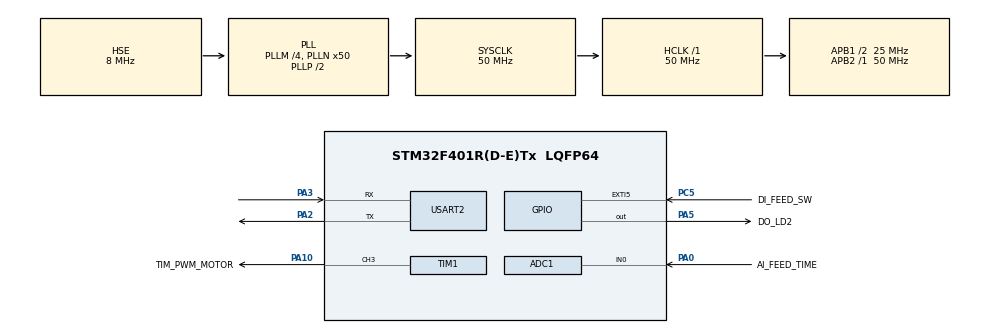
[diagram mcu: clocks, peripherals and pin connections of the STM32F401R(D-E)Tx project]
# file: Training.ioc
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ADC1.Channel-0\#ChannelRegularConversion=ADC_CHANNEL_0
ADC1.ContinuousConvMode=ENABLE
ADC1.NbrOfConversionFlag=1
ADC1.Rank-0\#ChannelRegularConversion=1
ADC1.SamplingTime-0\#ChannelRegularConversion=ADC_SAMPLETIME_480CYCLES
ADC1.master=1
Dma.ADC1.0.Direction=DMA_PERIPH_TO_MEMORY
Dma.ADC1.0.FIFOMode=DMA_FIFOMODE_DISABLE
Dma.ADC1.0.Instance=DMA2_Stream0
Dma.ADC1.0.MemDataAlignment=DMA_MDATAALIGN_HALFWORD
Dma.ADC1.0.MemInc=DMA_MINC_ENABLE
Dma.ADC1.0.Mode=DMA_CIRCULAR
Dma.ADC1.0.PeriphDataAlignment=DMA_PDATAALIGN_HALFWORD
Dma.ADC1.0.PeriphInc=DMA_PINC_DISABLE
Dma.ADC1.0.Priority=DMA_PRIORITY_LOW
Dma.Request0=ADC1
Mcu.Family=STM32F4
Mcu.Name=STM32F401R(D-E)Tx
Mcu.Package=LQFP64
NVIC.DMA2_Stream0_IRQn=true\:0\:0\:false\:false\:true\:false\:true\:true
NVIC.PriorityGroup=NVIC_PRIORITYGROUP_4
NVIC.USART2_IRQn=true\:0\:0\:false\:false\:true\:true\:true\:true
PA0-WKUP.GPIO_Label=AI_FEED_TIME
PA0-WKUP.Signal=ADCx_IN0
PA10.GPIO_Label=TIM_PWM_MOTOR
PA10.Signal=S_TIM1_CH3
PA2.Mode=Asynchronous
PA2.Signal=USART2_TX
PA3.Mode=Asynchronous
PA3.Signal=USART2_RX
PA5.GPIO_Label=DO_LD2
PA5.Signal=GPIO_Output
PC14-OSC32_IN.Mode=LSE-External-Oscillator
PC14-OSC32_IN.Signal=RCC_OSC32_IN
PC15-OSC32_OUT.Mode=LSE-External-Oscillator
PC15-OSC32_OUT.Signal=RCC_OSC32_OUT
PC5.GPIO_Label=DI_FEED_SW
PC5.Signal=GPXTI5
PH0\ -\ OSC_IN.Mode=HSE-External-Oscillator
PH0\ -\ OSC_IN.Signal=RCC_OSC_IN
PH1\ -\ OSC_OUT.Mode=HSE-External-Oscillator
PH1\ -\ OSC_OUT.Signal=RCC_OSC_OUT
ProjectManager.HeapSize=0x200
ProjectManager.StackSize=0x400
ProjectManager.TargetToolchain=STM32CubeIDE
RCC.48MHZClocksFreq_Value=25000000
RCC.AHBFreq_Value=50000000
RCC.APB1CLKDivider=RCC_HCLK_DIV2
RCC.APB1Freq_Value=25000000
RCC.APB1TimFreq_Value=50000000
RCC.APB2Freq_Value=50000000
RCC.APB2TimFreq_Value=50000000
RCC.CortexFreq_Value=50000000
RCC.HCLKFreq_Value=50000000
RCC.HSE_VALUE=8000000
RCC.HSI_VALUE=16000000
RCC.PLLM=4
RCC.PLLN=50
RCC.PLLSourceVirtual=RCC_PLLSOURCE_HSE
RCC.RCC_RTC_Clock_Source=RCC_RTCCLKSOURCE_LSE
RCC.RCC_RTC_Clock_SourceVirtual=RCC_RTCCLKSOURCE_LSE
RCC.SYSCLKFreq_VALUE=50000000
RCC.SYSCLKSource=RCC_SYSCLKSOURCE_PLLCLK
RCC.VCOOutputFreq_Value=100000000
SH.ADCx_IN0.0=ADC1_IN0,IN0
SH.S_TIM1_CH3.0=TIM1_CH3,PWM Generation3 CH3
TIM1.Channel-PWM\ Generation3\ CH3=TIM_CHANNEL_3
TIM1.Prescaler=7
USART2.VirtualMode=VM_ASYNC
VP_RTC_VS_RTC_Activate.Mode=RTC_Enabled
VP_RTC_VS_RTC_Calendar.Mode=RTC_Calendar
board=custom

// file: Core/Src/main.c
/* USER CODE BEGIN Header */
/**
  ******************************************************************************
  * @file           : main.c
  * @brief          : Main program body
  ******************************************************************************
  * @attention
  *
  * Copyright (c) 2026 STMicroelectronics.
  * All rights reserved.
  *
  * This software is licensed under terms that can be found in the LICENSE file
  * in the root directory of this software component.
  * If no LICENSE file comes with this software, it is provided AS-IS.
  *
  ******************************************************************************
  */
/* USER CODE END Header */
#include "main.h"

/* USER CODE BEGIN Includes */
#include "uart.h"
/* USER CODE END Includes */

ADC_HandleTypeDef hadc1;
DMA_HandleTypeDef hdma_adc1;

RTC_HandleTypeDef hrtc;

TIM_HandleTypeDef htim1;

UART_HandleTypeDef huart2;

void SystemClock_Config(void);
static void MX_GPIO_Init(void);
static void MX_DMA_Init(void);
static void MX_RTC_Init(void);
static void MX_USART2_UART_Init(void);
static void MX_ADC1_Init(void);
static void MX_TIM1_Init(void);

/* USER CODE BEGIN 0 */
#define MAX_TURN_ON_TIME 20000L
#define MIN_TURN_ON_TIME 1000L
#define MAX_ADC_VALUE 4095
#define MIN_ADC_VALUE 0

volatile uint8_t buttonInputFlag = 0;
volatile uint16_t adcValue = 0;

uint32_t Convert_Adc_To_Time(uint32_t adcValue)
{
	if(adcValue > MAX_ADC_VALUE)
		adcValue = MAX_ADC_VALUE;
	if(adcValue < MIN_ADC_VALUE)
		adcValue = MIN_ADC_VALUE;

	return adcValue * MAX_TURN_ON_TIME / MAX_ADC_VALUE;
}

void Set_PWM_Duty(TIM_HandleTypeDef *htim, uint32_t channel, float duty_percent)
{
    uint32_t arr = __HAL_TIM_GET_AUTORELOAD(htim);
    uint32_t ccr = (uint32_t)((arr + 1) * duty_percent / 100.0f);

    if (ccr > arr) ccr = arr;
    __HAL_TIM_SET_COMPARE(htim, channel, ccr);
}

void Start_Enter_Point()
{
	Set_PWM_Duty(&htim1, TIM_CHANNEL_3, 50);
}

void Stop_Enter_Point()
{
	Set_PWM_Duty(&htim1, TIM_CHANNEL_3, 0);
}

void Start_Feed(uint32_t period_ms)
{
	Start_Enter_Point();

	HAL_Delay(period_ms);

	Stop_Enter_Point();
}

void HAL_GPIO_EXTI_Callback(uint16_t GPIO_Pin)
{
    if (GPIO_Pin == DI_FEED_SW_Pin)
    {
    	buttonInputFlag = 1;
    }
}
/* USER CODE END 0 */

int main(void)
{

  /* MCU Configuration--------------------------------------------------------*/

  /* Reset of all peripherals, Initializes the Flash interface and the Systick. */
  HAL_Init();

  /* Configure the system clock */
  SystemClock_Config();

  /* Initialize all configured peripherals */
  MX_GPIO_Init();
  MX_DMA_Init();
  MX_RTC_Init();
  MX_USART2_UART_Init();
  MX_ADC1_Init();
  MX_TIM1_Init();
  /* USER CODE BEGIN 2 */
  RTC_TimeTypeDef sTime = {0};
  RTC_DateTypeDef sDate = {0};

  HAL_TIM_PWM_Start(&htim1, TIM_CHANNEL_3);

  HAL_ADC_Start_DMA(&hadc1, (uint32_t *)&adcValue, 1);

  /* USER CODE END 2 */

  /* Infinite loop */
  while (1)
  {

    /* USER CODE BEGIN 3 */
	  ReceiveUart();
	  HAL_RTC_GetTime(&hrtc, &sTime, RTC_FORMAT_BIN);
	  HAL_RTC_GetDate(&hrtc, &sDate, RTC_FORMAT_BIN);

	  HAL_GPIO_WritePin(DO_LD2_GPIO_Port, DO_LD2_Pin, GPIO_PIN_SET);
	  HAL_Delay(300);
	  HAL_GPIO_WritePin(DO_LD2_GPIO_Port, DO_LD2_Pin, GPIO_PIN_RESET);
	  HAL_Delay(300);

	  if((buttonInputFlag == 1)
			  || (sTime.Hours % 8 == 0
				  && sTime.Minutes == 0
				  && sTime.Seconds == 0))
	  {
		  buttonInputFlag = 0;

		  uint32_t time = Convert_Adc_To_Time(adcValue);
		  Start_Feed(time);
	  }

  }
  /* USER CODE END 3 */
}

void SystemClock_Config(void)
{
  RCC_OscInitTypeDef RCC_OscInitStruct = {0};
  RCC_ClkInitTypeDef RCC_ClkInitStruct = {0};

  /** Configure the main internal regulator output voltage
  */
  __HAL_RCC_PWR_CLK_ENABLE();
  __HAL_PWR_VOLTAGESCALING_CONFIG(PWR_REGULATOR_VOLTAGE_SCALE2);

  /** Initializes the RCC Oscillators according to the specified parameters
  * in the RCC_OscInitTypeDef structure.
  */
  RCC_OscInitStruct.OscillatorType = RCC_OSCILLATORTYPE_HSE|RCC_OSCILLATORTYPE_LSE;
  RCC_OscInitStruct.HSEState = RCC_HSE_ON;
  RCC_OscInitStruct.LSEState = RCC_LSE_ON;
  RCC_OscInitStruct.PLL.PLLState = RCC_PLL_ON;
  RCC_OscInitStruct.PLL.PLLSource = RCC_PLLSOURCE_HSE;
  RCC_OscInitStruct.PLL.PLLM = 4;
  RCC_OscInitStruct.PLL.PLLN = 50;
  RCC_OscInitStruct.PLL.PLLP = RCC_PLLP_DIV2;
  RCC_OscInitStruct.PLL.PLLQ = 4;
  if (HAL_RCC_OscConfig(&RCC_OscInitStruct) != HAL_OK)
  {
    Error_Handler();
  }

  /** Initializes the CPU, AHB and APB buses clocks
  */
  RCC_ClkInitStruct.ClockType = RCC_CLOCKTYPE_HCLK|RCC_CLOCKTYPE_SYSCLK
                              |RCC_CLOCKTYPE_PCLK1|RCC_CLOCKTYPE_PCLK2;
  RCC_ClkInitStruct.SYSCLKSource = RCC_SYSCLKSOURCE_PLLCLK;
  RCC_ClkInitStruct.AHBCLKDivider = RCC_SYSCLK_DIV1;
  RCC_ClkInitStruct.APB1CLKDivider = RCC_HCLK_DIV2;
  RCC_ClkInitStruct.APB2CLKDivider = RCC_HCLK_DIV1;

  if (HAL_RCC_ClockConfig(&RCC_ClkInitStruct, FLASH_LATENCY_1) != HAL_OK)
  {
    Error_Handler();
  }
}

static void MX_ADC1_Init(void)
{

  ADC_ChannelConfTypeDef sConfig = {0};

  /** Configure the global features of the ADC (Clock, Resolution, Data Alignment and number of conversion)
  */
  hadc1.Instance = ADC1;
  hadc1.Init.ClockPrescaler = ADC_CLOCK_SYNC_PCLK_DIV2;
  hadc1.Init.Resolution = ADC_RESOLUTION_12B;
  hadc1.Init.ScanConvMode = DISABLE;
  hadc1.Init.ContinuousConvMode = ENABLE;
  hadc1.Init.DiscontinuousConvMode = DISABLE;
  hadc1.Init.ExternalTrigConvEdge = ADC_EXTERNALTRIGCONVEDGE_NONE;
  hadc1.Init.ExternalTrigConv = ADC_SOFTWARE_START;
  hadc1.Init.DataAlign = ADC_DATAALIGN_RIGHT;
  hadc1.Init.NbrOfConversion = 1;
  hadc1.Init.DMAContinuousRequests = DISABLE;
  hadc1.Init.EOCSelection = ADC_EOC_SINGLE_CONV;
  if (HAL_ADC_Init(&hadc1) != HAL_OK)
  {
    Error_Handler();
  }

  /** Configure for the selected ADC regular channel its corresponding rank in the sequencer and its sample time.
  */
  sConfig.Channel = ADC_CHANNEL_0;
  sConfig.Rank = 1;
  sConfig.SamplingTime = ADC_SAMPLETIME_480CYCLES;
  if (HAL_ADC_ConfigChannel(&hadc1, &sConfig) != HAL_OK)
  {
    Error_Handler();
  }

}

static void MX_RTC_Init(void)
{

  RTC_TimeTypeDef sTime = {0};
  RTC_DateTypeDef sDate = {0};

  /** Initialize RTC Only
  */
  hrtc.Instance = RTC;
  hrtc.Init.HourFormat = RTC_HOURFORMAT_24;
  hrtc.Init.AsynchPrediv = 127;
  hrtc.Init.SynchPrediv = 255;
  hrtc.Init.OutPut = RTC_OUTPUT_DISABLE;
  hrtc.Init.OutPutPolarity = RTC_OUTPUT_POLARITY_HIGH;
  hrtc.Init.OutPutType = RTC_OUTPUT_TYPE_OPENDRAIN;
  if (HAL_RTC_Init(&hrtc) != HAL_OK)
  {
    Error_Handler();
  }

  /* USER CODE BEGIN Check_RTC_BKUP */

	if (HAL_RTCEx_BKUPRead(&hrtc, RTC_BKP_DR0) != 0x1234)
	{
  /* USER CODE END Check_RTC_BKUP */

  /** Initialize RTC and set the Time and Date
  */
  sTime.Hours = 0x0;
  sTime.Minutes = 0x0;
  sTime.Seconds = 0x0;
  sTime.DayLightSaving = RTC_DAYLIGHTSAVING_NONE;
  sTime.StoreOperation = RTC_STOREOPERATION_RESET;
  if (HAL_RTC_SetTime(&hrtc, &sTime, RTC_FORMAT_BCD) != HAL_OK)
  {
    Error_Handler();
  }
  sDate.WeekDay = RTC_WEEKDAY_MONDAY;
  sDate.Month = RTC_MONTH_JANUARY;
  sDate.Date = 0x1;
  sDate.Year = 0x0;

  if (HAL_RTC_SetDate(&hrtc, &sDate, RTC_FORMAT_BCD) != HAL_OK)
  {
    Error_Handler();
  }
  /* USER CODE BEGIN RTC_Init 2 */
  	  HAL_RTCEx_BKUPWrite(&hrtc, RTC_BKP_DR0, 0x1234);
	}
  /* USER CODE END RTC_Init 2 */

}

static void MX_TIM1_Init(void)
{

  TIM_MasterConfigTypeDef sMasterConfig = {0};
  TIM_OC_InitTypeDef sConfigOC = {0};
  TIM_BreakDeadTimeConfigTypeDef sBreakDeadTimeConfig = {0};

  htim1.Instance = TIM1;
  htim1.Init.Prescaler = 7;
  htim1.Init.CounterMode = TIM_COUNTERMODE_UP;
  htim1.Init.Period = 65535;
  htim1.Init.ClockDivision = TIM_CLOCKDIVISION_DIV1;
  htim1.Init.RepetitionCounter = 0;
  htim1.Init.AutoReloadPreload = TIM_AUTORELOAD_PRELOAD_DISABLE;
  if (HAL_TIM_PWM_Init(&htim1) != HAL_OK)
  {
    Error_Handler();
  }
  sMasterConfig.MasterOutputTrigger = TIM_TRGO_RESET;
  sMasterConfig.MasterSlaveMode = TIM_MASTERSLAVEMODE_DISABLE;
  if (HAL_TIMEx_MasterConfigSynchronization(&htim1, &sMasterConfig) != HAL_OK)
  {
    Error_Handler();
  }
  sConfigOC.OCMode = TIM_OCMODE_PWM1;
  sConfigOC.Pulse = 0;
  sConfigOC.OCPolarity = TIM_OCPOLARITY_HIGH;
  sConfigOC.OCNPolarity = TIM_OCNPOLARITY_HIGH;
  sConfigOC.OCFastMode = TIM_OCFAST_DISABLE;
  sConfigOC.OCIdleState = TIM_OCIDLESTATE_RESET;
  sConfigOC.OCNIdleState = TIM_OCNIDLESTATE_RESET;
  if (HAL_TIM_PWM_ConfigChannel(&htim1, &sConfigOC, TIM_CHANNEL_3) != HAL_OK)
  {
    Error_Handler();
  }
  sBreakDeadTimeConfig.OffStateRunMode = TIM_OSSR_DISABLE;
  sBreakDeadTimeConfig.OffStateIDLEMode = TIM_OSSI_DISABLE;
  sBreakDeadTimeConfig.LockLevel = TIM_LOCKLEVEL_OFF;
  sBreakDeadTimeConfig.DeadTime = 0;
  sBreakDeadTimeConfig.BreakState = TIM_BREAK_DISABLE;
  sBreakDeadTimeConfig.BreakPolarity = TIM_BREAKPOLARITY_HIGH;
  sBreakDeadTimeConfig.AutomaticOutput = TIM_AUTOMATICOUTPUT_DISABLE;
  if (HAL_TIMEx_ConfigBreakDeadTime(&htim1, &sBreakDeadTimeConfig) != HAL_OK)
  {
    Error_Handler();
  }
  HAL_TIM_MspPostInit(&htim1);

}

static void MX_USART2_UART_Init(void)
{

  huart2.Instance = USART2;
  huart2.Init.BaudRate = 115200;
  huart2.Init.WordLength = UART_WORDLENGTH_8B;
  huart2.Init.StopBits = UART_STOPBITS_1;
  huart2.Init.Parity = UART_PARITY_NONE;
  huart2.Init.Mode = UART_MODE_TX_RX;
  huart2.Init.HwFlowCtl = UART_HWCONTROL_NONE;
  huart2.Init.OverSampling = UART_OVERSAMPLING_16;
  if (HAL_UART_Init(&huart2) != HAL_OK)
  {
    Error_Handler();
  }

}

static void MX_DMA_Init(void)
{

  /* DMA controller clock enable */
  __HAL_RCC_DMA2_CLK_ENABLE();

  /* DMA interrupt init */
  /* DMA2_Stream0_IRQn interrupt configuration */
  HAL_NVIC_SetPriority(DMA2_Stream0_IRQn, 0, 0);
  HAL_NVIC_EnableIRQ(DMA2_Stream0_IRQn);

}

static void MX_GPIO_Init(void)
{
  GPIO_InitTypeDef GPIO_InitStruct = {0};

  /* GPIO Ports Clock Enable */
  __HAL_RCC_GPIOC_CLK_ENABLE();
  __HAL_RCC_GPIOH_CLK_ENABLE();
  __HAL_RCC_GPIOA_CLK_ENABLE();

  /*Configure GPIO pin Output Level */
  HAL_GPIO_WritePin(DO_LD2_GPIO_Port, DO_LD2_Pin, GPIO_PIN_RESET);

  /*Configure GPIO pin : DO_LD2_Pin */
  GPIO_InitStruct.Pin = DO_LD2_Pin;
  GPIO_InitStruct.Mode = GPIO_MODE_OUTPUT_PP;
  GPIO_InitStruct.Pull = GPIO_NOPULL;
  GPIO_InitStruct.Speed = GPIO_SPEED_FREQ_LOW;
  HAL_GPIO_Init(DO_LD2_GPIO_Port, &GPIO_InitStruct);

  /*Configure GPIO pin : DI_FEED_SW_Pin */
  GPIO_InitStruct.Pin = DI_FEED_SW_Pin;
  GPIO_InitStruct.Mode = GPIO_MODE_IT_RISING;
  GPIO_InitStruct.Pull = GPIO_NOPULL;
  HAL_GPIO_Init(DI_FEED_SW_GPIO_Port, &GPIO_InitStruct);

}

void Error_Handler(void)
{
  __disable_irq();
  while (1)
  {
  }
}
